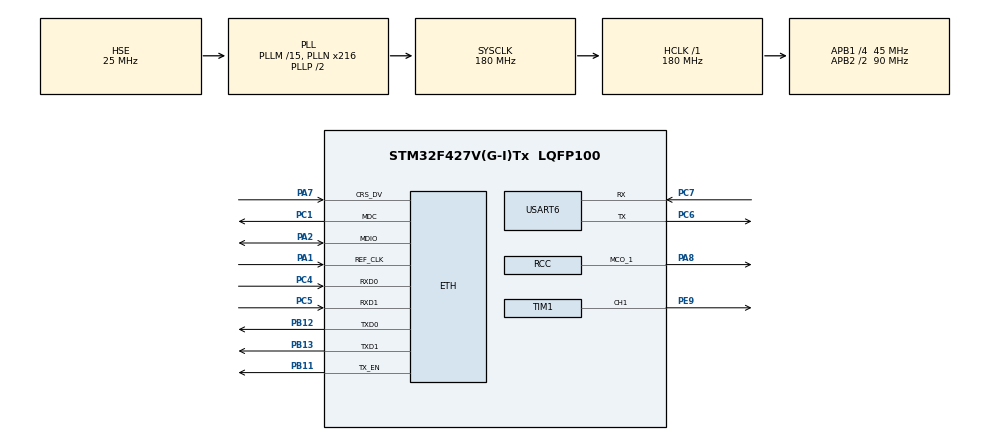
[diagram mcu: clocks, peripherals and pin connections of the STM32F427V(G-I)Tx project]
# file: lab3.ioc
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ETH.MediaInterface=HAL_ETH_RMII_MODE
LWIP.BSP.number=1
LWIP.Version=v2.1.2_Cube
LWIP0.BSP.STBoard=false
LWIP0.BSP.api=BSP_COMPONENT_DRIVER
LWIP0.BSP.component=LAN8742
LWIP0.BSP.i2caddr=0
LWIP0.BSP.instance=LAN8742
LWIP0.BSP.name=Driver_PHY
LWIP0.BSP.semaphore=S_LAN8742
LWIP0.BSP.solution=LAN8742
Mcu.Family=STM32F4
Mcu.Name=STM32F427V(G-I)Tx
Mcu.Package=LQFP100
NVIC.ETH_IRQn=true\:0\:0\:false\:false\:true\:true\:true\:true
NVIC.PriorityGroup=NVIC_PRIORITYGROUP_4
NVIC.TIM6_DAC_IRQn=true\:0\:0\:false\:false\:true\:true\:true\:true
NVIC.TIM7_IRQn=true\:0\:0\:false\:false\:true\:true\:true\:true
NVIC.USART6_IRQn=true\:0\:0\:false\:false\:true\:true\:true\:true
PA1.Mode=RMII
PA1.Signal=ETH_REF_CLK
PA13.Mode=JTAG_5_pins
PA13.Signal=SYS_JTMS-SWDIO
PA14.Mode=JTAG_5_pins
PA14.Signal=SYS_JTCK-SWCLK
PA15.Mode=JTAG_5_pins
PA15.Signal=SYS_JTDI
PA2.Mode=RMII
PA2.Signal=ETH_MDIO
PA7.Mode=RMII
PA7.Signal=ETH_CRS_DV
PA8.Mode=Clock-out-1
PA8.Signal=RCC_MCO_1
PB11.Mode=RMII
PB11.Signal=ETH_TX_EN
PB12.Mode=RMII
PB12.Signal=ETH_TXD0
PB13.Mode=RMII
PB13.Signal=ETH_TXD1
PB3.Mode=JTAG_5_pins
PB3.Signal=SYS_JTDO-SWO
PB4.Mode=JTAG_5_pins
PB4.Signal=SYS_JTRST
PC1.Mode=RMII
PC1.Signal=ETH_MDC
PC4.Mode=RMII
PC4.Signal=ETH_RXD0
PC5.Mode=RMII
PC5.Signal=ETH_RXD1
PC6.Mode=Asynchronous
PC6.Signal=USART6_TX
PC7.Mode=Asynchronous
PC7.Signal=USART6_RX
PE9.Signal=S_TIM1_CH1
PH0/OSC_IN.Mode=HSE-External-Oscillator
PH0/OSC_IN.Signal=RCC_OSC_IN
PH1/OSC_OUT.Mode=HSE-External-Oscillator
PH1/OSC_OUT.Signal=RCC_OSC_OUT
ProjectManager.HeapSize=0x200
ProjectManager.StackSize=0x400
ProjectManager.TargetToolchain=STM32CubeIDE
RCC.48MHZClocksFreq_Value=90000000
RCC.AHBFreq_Value=180000000
RCC.APB1CLKDivider=RCC_HCLK_DIV4
RCC.APB1Freq_Value=45000000
RCC.APB1TimFreq_Value=90000000
RCC.APB2CLKDivider=RCC_HCLK_DIV2
RCC.APB2Freq_Value=90000000
RCC.APB2TimFreq_Value=180000000
RCC.CortexFreq_Value=180000000
RCC.HCLKFreq_Value=180000000
RCC.HSE_VALUE=25000000
RCC.HSI_VALUE=16000000
RCC.LSE_VALUE=32768
RCC.PLLM=15
RCC.PLLN=216
RCC.PLLSourceVirtual=RCC_PLLSOURCE_HSE
RCC.RCC_MCO1Source=RCC_MCO1SOURCE_HSE
RCC.SYSCLKFreq_VALUE=180000000
RCC.SYSCLKSource=RCC_SYSCLKSOURCE_PLLCLK
RCC.VCOOutputFreq_Value=360000000
SH.S_TIM1_CH1.0=TIM1_CH1,PWM Generation1 CH1
TIM1.Channel-PWM\ Generation1\ CH1=TIM_CHANNEL_1
TIM1.Period=20
TIM1.Prescaler=0
TIM1.Pulse-PWM\ Generation1\ CH1=0
TIM6.AutoReloadPreload=TIM_AUTORELOAD_PRELOAD_DISABLE
TIM6.Period=2000
TIM6.Prescaler=44999
TIM7.Period=10000
TIM7.Prescaler=44999
USART6.VirtualMode=VM_ASYNC
VP_LWIP_VS_Enabled.Mode=Enabled
VP_TIM1_VS_ClockSourceINT.Mode=Internal
VP_TIM6_VS_ClockSourceINT.Mode=Enable_Timer
VP_TIM7_VS_ClockSourceINT.Mode=Enable_Timer
board=custom

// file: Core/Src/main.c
/* USER CODE BEGIN Header */
/**
  ******************************************************************************
  * @file           : main.c
  * @brief          : Main program body
  ******************************************************************************
  * @attention
  *
  * Copyright (c) 2022 STMicroelectronics.
  * All rights reserved.
  *
  * This software is licensed under terms that can be found in the LICENSE file
  * in the root directory of this software component.
  * If no LICENSE file comes with this software, it is provided AS-IS.
  *
  ******************************************************************************
  */
/* USER CODE END Header */
#include "main.h"
#include "lwip.h"
#include "tim.h"
#include "usart.h"
#include "gpio.h"

/* USER CODE BEGIN Includes */
#include <string.h>
#include <stdio.h>
#include <inttypes.h>

#include "command.h"
#include "menu.h"
#include "hardware/buzzer.h"
#include "eth/lwip_tcp.h"

#include "stm32f4xx_hal.h"
#include "stm32f4xx_hal_flash.h"
#include "stm32f4xx_hal_flash_ex.h"
/* USER CODE END Includes */

/* USER CODE BEGIN PD */
#define UART_BUF_SIZE 128
/* USER CODE END PD */

/* USER CODE BEGIN PV */
static uint8_t uartBuf[UART_BUF_SIZE];
static uint8_t uartBufLast = 0;
static Command *commands[13];
/* USER CODE END PV */

void SystemClock_Config(void);
/* USER CODE BEGIN PFP */
static void sendMessage(const char * msg);
static void receiveAndSendChar();
static void sendCommandResult(const char * commandResult);
static void quit();
/* USER CODE END PFP */

int main(void)
{
  /* USER CODE BEGIN 1 */
	  commands[0] = commandCreate("1", (CommandAction) playA);
	  commands[1] = commandCreate("2", (CommandAction) playB);
	  commands[2] = commandCreate("3", (CommandAction) playC);
	  commands[3] = commandCreate("4", (CommandAction) playD);
	  commands[4] = commandCreate("5", (CommandAction) playE);
	  commands[5] = commandCreate("6", (CommandAction) playF);
	  commands[6] = commandCreate("7", (CommandAction) playG);
	  commands[7] = commandCreate("+", (CommandAction) upOctave);
	  commands[8] = commandCreate("-", (CommandAction) downOctave);
	  commands[9] = commandCreate("A", (CommandAction) upDuration);
	  commands[10] = commandCreate("a", (CommandAction) downDuration);
	  commands[11] = commandCreate("\r", (CommandAction) playAll);
	  commands[12] = commandCreate("q", (CommandAction) quit);
  /* USER CODE END 1 */

  /* MCU Configuration--------------------------------------------------------*/

  /* Reset of all peripherals, Initializes the Flash interface and the Systick. */
  HAL_Init();

  /* Configure the system clock */
  SystemClock_Config();

  /* Initialize all configured peripherals */
  MX_GPIO_Init();
  MX_USART6_UART_Init();
  MX_TIM1_Init();
  MX_TIM6_Init();
  MX_TIM7_Init();
  MX_LWIP_Init();
  /* USER CODE BEGIN 2 */
  uartInit();
  HAL_TIM_PWM_Start(&htim1, TIM_CHANNEL_1);
  HAL_TIM_Base_Start_IT(&htim6);
  HAL_TIM_Base_Start_IT(&htim7);
  menuInit(commands, 13);
  lwip_tcp_init();
  sendMessage("Started\n");
  /* USER CODE END 2 */

  /* Infinite loop */
  /* USER CODE BEGIN WHILE */
  while (1)
  {
	  WRITE_REG(IWDG->KR, 0x0000AAAAU);
	  MX_LWIP_Process();
	  uartPolling();

	  if (uartHasNext()) {
		  receiveAndSendChar();
	  }

    /* USER CODE END WHILE */

  }
}

void SystemClock_Config(void)
{
  RCC_OscInitTypeDef RCC_OscInitStruct = {0};
  RCC_ClkInitTypeDef RCC_ClkInitStruct = {0};

  /** Configure the main internal regulator output voltage
  */
  __HAL_RCC_PWR_CLK_ENABLE();
  __HAL_PWR_VOLTAGESCALING_CONFIG(PWR_REGULATOR_VOLTAGE_SCALE1);

  /** Initializes the RCC Oscillators according to the specified parameters
  * in the RCC_OscInitTypeDef structure.
  */
  RCC_OscInitStruct.OscillatorType = RCC_OSCILLATORTYPE_HSE;
  RCC_OscInitStruct.HSEState = RCC_HSE_ON;
  RCC_OscInitStruct.PLL.PLLState = RCC_PLL_ON;
  RCC_OscInitStruct.PLL.PLLSource = RCC_PLLSOURCE_HSE;
  RCC_OscInitStruct.PLL.PLLM = 15;
  RCC_OscInitStruct.PLL.PLLN = 216;
  RCC_OscInitStruct.PLL.PLLP = RCC_PLLP_DIV2;
  RCC_OscInitStruct.PLL.PLLQ = 4;
  if (HAL_RCC_OscConfig(&RCC_OscInitStruct) != HAL_OK)
  {
    Error_Handler();
  }

  /** Activate the Over-Drive mode
  */
  if (HAL_PWREx_EnableOverDrive() != HAL_OK)
  {
    Error_Handler();
  }

  /** Initializes the CPU, AHB and APB buses clocks
  */
  RCC_ClkInitStruct.ClockType = RCC_CLOCKTYPE_HCLK|RCC_CLOCKTYPE_SYSCLK
                              |RCC_CLOCKTYPE_PCLK1|RCC_CLOCKTYPE_PCLK2;
  RCC_ClkInitStruct.SYSCLKSource = RCC_SYSCLKSOURCE_PLLCLK;
  RCC_ClkInitStruct.AHBCLKDivider = RCC_SYSCLK_DIV1;
  RCC_ClkInitStruct.APB1CLKDivider = RCC_HCLK_DIV4;
  RCC_ClkInitStruct.APB2CLKDivider = RCC_HCLK_DIV2;

  if (HAL_RCC_ClockConfig(&RCC_ClkInitStruct, FLASH_LATENCY_5) != HAL_OK)
  {
    Error_Handler();
  }
  HAL_RCC_MCOConfig(RCC_MCO1, RCC_MCO1SOURCE_HSE, RCC_MCODIV_1);
}

/* USER CODE BEGIN 4 */
static void sendMessage(const char * msg) {
    uartTransmit((uint8_t *) msg, strlen(msg));
}

static void receiveAndSendChar() {
    if (uartReceive(uartBuf + uartBufLast, 1)) {
        uint8_t received = uartBuf[uartBufLast];
        uartBufLast++;
        uartTransmit(&received, 1);

        uartBuf[uartBufLast] = '\0';
        const char *commandResult = menuExecuteCommand((char *) uartBuf);
        sendMessage("\n");
        sendCommandResult(commandResult);
    }
}

static void sendCommandResult(const char * commandResult) {
    uartTransmit((uint8_t *) commandResult, strlen(commandResult));
    uartBufLast = 0;
}

static void quit() {
	HAL_FLASH_Unlock();
	HAL_FLASH_Program(FLASH_TYPEPROGRAM_WORD, (uint32_t)0x08104000, 0);
	HAL_FLASH_Lock();
	NVIC_SystemReset();
}
/* USER CODE END 4 */

void Error_Handler(void)
{
  __disable_irq();
  while (1)
  {
  }
}
